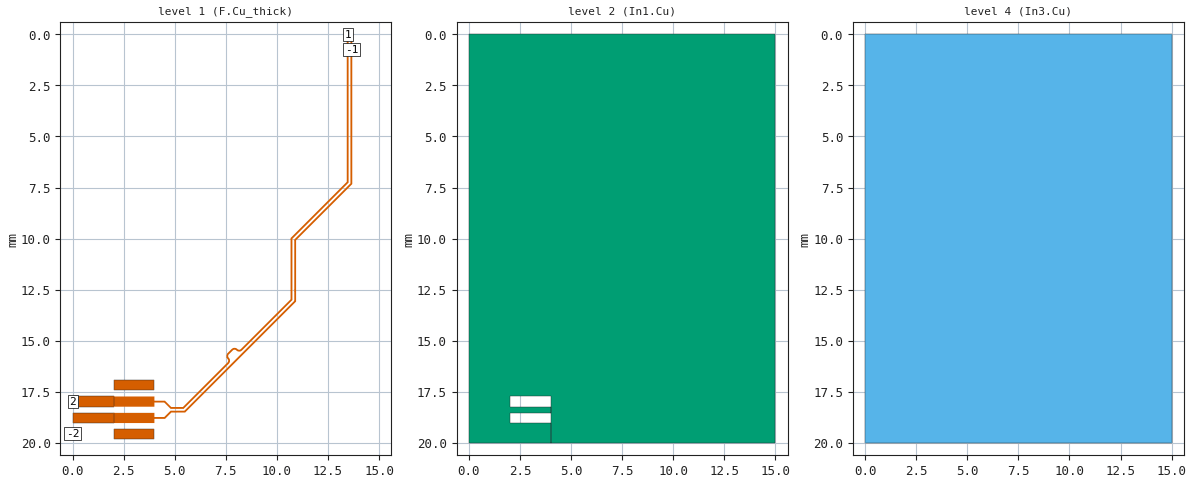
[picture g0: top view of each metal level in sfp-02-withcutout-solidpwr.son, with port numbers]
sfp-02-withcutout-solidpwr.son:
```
FTYP SONPROJ 19 ! Sonnet Project File
VER 18.56
HEADER
LIC antikernel2.1.52448
DAT 06/11/2023 19:36:24
BUILT_BY_CREATED dxf 18.56 06/07/2023 00:06:12
BUILT_BY_SAVED sonnet 18.56
MDATE 06/11/2023 13:20:11
HDATE 06/11/2023 13:20:11
ANN Created by dxfgeo, Sonnet Software Inc.
END HEADER
DIM
ANG DEG
CAP PF
CON /OH
FREQ GHZ
IND NH
LNG MM
RES OH
END DIM
CONTROL
VARSWP
OPTIONS  -dj
SPEED 1
CACHE_ABS 2
Q_ACC N
END CONTROL
GEO
DRP1 LEFT LINK
POLY 8762 1
0
TMET "Free Space" 0 FREESPACE 376.7303136 0 0 0
BMET "Free Space" 0 FREESPACE 376.7303136 0 0 0
MET "Copper_1oz_thin" 1 NOR 58000000 0.5 0.035 
MET "Copper_1oz_thick" 2 TMM 58000000 0.5 0.035 2
MET "Copper_0.5oz_thin" 4 NOR 58000000 0.5 0.017 
MET "Copper_0.5oz_thick" 12 TMM 58000000 0.5 0.017 2
MET "Copper_0.5oz_thick_down" 5 TMM 58000000 0.5 0.017 2 CDVY TDWN
MET "Copper_1oz_thick_down" 3 TMM 58000000 0.5 0.035 2 CDVY TDWN
BOX 10 15 20 1200 1600 20 0
      5 1 1 0 0 0 0 "Air"
      0.04 3.5 1 0.025 0 0 0 "Soldermask"
      0.075 3.9 1 0.008 0 0 0 "TU-872_SLK"
      0.1 3.9 1 0.008 0 0 0 "TU-872_SLK"
      0.143 3.9 1 0.008 0 0 0 "TU-872_SLK"
      0.7 4.49 1 0.016 0 0 0 "Shengyi_S1000-2M"
      0.143 3.9 1 0.008 0 0 0 "TU-872_SLK"
      0.1 3.9 1 0.008 0 0 0 "TU-872_SLK"
      0.075 3.9 1 0.008 0 0 0 "TU-872_SLK"
      0.04 3.5 1 0.025 0 0 0 "Soldermask"
      5 1 1 0 0 0 0 "Air"
TECHLAY METAL F.Cu_thin <UNSPECIFIED> -1 -65534 CAD F.Cu_thin drawing 
1 0 0 N 8714 1 1 100 100 0 0 0 Y
END
END
TECHLAY METAL F.Cu_thick L1D0 -2 -65534 CAD F.Cu_thick drawing 
1 0 1 V 8716 1 1 100 100 0 0 0 Y
END
END
TECHLAY VIA Via1 L9D0 -13 -65534 CAD Via1 drawing 
VIA POLYGON
1 0 -1 N 8816 1 1 100 100 0 0 0 Y
TOLEVEL 8 RING NOCOVERS
END
END
TECHLAY METAL In1.Cu L2D0 -3 -65534 CAD In1.Cu drawing 
2 0 0 N 8727 1 1 100 100 0 0 0 Y
END
END
TECHLAY METAL In2.Cu_thin <UNSPECIFIED> -4 -65534 CAD In2.Cu drawing 
3 0 2 N 8730 1 1 100 100 0 0 0 Y
END
END
TECHLAY METAL In2.Cu_thick L3D0 -5 -65534 CAD In2.Cu_thick drawing 
3 0 3 N 8732 1 1 100 100 0 0 0 Y
END
END
TECHLAY METAL In3.Cu L4D0 -6 -65534 CAD In3.Cu drawing 
4 0 0 N 8735 1 1 100 100 0 0 0 Y
END
END
TECHLAY METAL In4.Cu L5D0 -7 -65534 CAD In4.Cu drawing 
5 0 0 N 8738 1 1 100 100 0 0 0 Y
END
END
TECHLAY METAL In5.Cu_thin <UNSPECIFIED> -8 -65534 CAD In5.Cu drawing 
6 0 2 N 8741 1 1 100 100 0 0 0 Y
END
END
TECHLAY METAL In5.Cu_thick L6D0 -9 -65534 CAD In5.Cu_thick drawing 
6 0 4 N 8743 1 1 100 100 0 0 0 Y
END
END
TECHLAY METAL In6.Cu L7D0 -10 -65534 CAD In6.Cu drawing 
7 0 0 N 8746 1 1 100 100 0 0 0 Y
END
END
TECHLAY METAL B.Cu_thin <UNSPECIFIED> -11 -65534 CAD B.Cu_thin drawing 
8 0 0 N 8749 1 1 100 100 0 0 0 Y
END
END
TECHLAY METAL B.Cu_thick L8D0 -12 -65534 CAD B.Cu_thick drawing 
8 0 5 N 8751 1 1 100 100 0 0 0 Y
END
END
VALVAR CORE_ER NONE "table1(\"../../../sata-sniffer/sims/core_er.csv\",FREQ)" "Variable set in material file"
VALVAR CORE_DF NONE "table1(\"../../../sata-sniffer/sims/core_df.csv\",FREQ)" "Variable set in material file"
VALVAR PREPREG_DF NONE "table1(\"../../../sata-sniffer/sims/prepreg_df.csv\",FREQ)" "Variable set in material file"
VALVAR PREPREG_ER NONE "table1(\"../../../sata-sniffer/sims/prepreg_er.csv\",FREQ)" "Variable set in material file"
LORGN 0 20 U 
POR1 BOX
POLY 8661 1
115
1 100 0 0 0 13.46272656 -0.0025 
POR1 BOX
POLY 8662 1
30
-1 100 0 0 0 13.64272656 -0.0025 
POR1 BOX
POLY 8762 1
2
2 100 0 0 0 0 17.978125 
POR1 BOX
POLY 8766 1
2
-2 100 0 0 0 0 18.778125 
NUM 8
1 261 1 V 8661 1 1 100 100 0 0 0 Y
TLAYNAM F.Cu_thick INH
5.426726562 18.332125
5.430726562 18.330125
5.434726563 18.329125
5.438726562 18.327125
5.442726562 18.324125
5.445726562 18.321125
7.647726562 16.120125
7.650726562 16.116125
7.652726563 16.113125
7.652726563 16.112125
7.666726563 16.096125
7.667726562 16.095125
7.669726563 16.092125
7.672726563 16.088125
7.684726563 16.064125
7.687726563 16.061125
7.687726563 16.060125
7.689726562 16.056125
7.690726563 16.052125
7.692726562 16.048125
7.693726563 16.044125
7.693726563 16.043125
7.698726562 16.027125
7.701726562 16.018125
7.702726563 16.014125
7.702726563 16.005125
7.704726562 15.987125
7.705726563 15.983125
7.705726563 15.969125
7.704726562 15.967125
7.704726562 15.965125
7.702726563 15.938125
7.701726562 15.934125
7.698726562 15.926125
7.692726562 15.908125
7.692726562 15.904125
7.690726563 15.900125
7.689726562 15.895125
7.687726563 15.892125
7.674726562 15.868125
7.674726562 15.867125
7.672726563 15.863125
7.669726563 15.859125
7.652726563 15.839125
7.649726563 15.835125
7.646726563 15.832125
7.635726562 15.819125
7.635726562 15.818125
7.618726563 15.788125
7.618726563 15.787125
7.614726562 15.773125
7.611726562 15.745125
7.613726563 15.730125
7.622726563 15.701125
7.623726562 15.699125
7.631726563 15.685125
7.649726563 15.663125
7.838726562 15.474125
7.844726562 15.469125
7.855726562 15.459125
7.857726563 15.458125
7.881726563 15.445125
7.900726562 15.439125
7.928726563 15.436125
7.949726563 15.439125
7.966726562 15.444125
7.990726563 15.457125
8.004726562 15.468125
8.007726562 15.471125
8.015726563 15.477125
8.031726562 15.491125
8.032726563 15.492125
8.035726563 15.494125
8.039726562 15.497125
8.063726562 15.509125
8.066726562 15.512125
8.067726562 15.512125
8.071726563 15.514125
8.075726562 15.515125
8.079726562 15.517125
8.083726563 15.518125
8.084726562 15.518125
8.100726563 15.523125
8.109726563 15.526125
8.113726563 15.527125
8.122726563 15.527125
8.140726563 15.529125
8.144726562 15.530125
8.158726563 15.530125
8.160726563 15.529125
8.162726562 15.529125
8.189726562 15.527125
8.193726563 15.526125
8.201726562 15.523125
8.219726562 15.517125
8.223726563 15.517125
8.227726562 15.515125
8.232726563 15.514125
8.263726562 15.497125
8.267726563 15.494125
8.287726562 15.477125
8.291726563 15.474125
8.485726563 15.280125
8.489726562 15.277125
10.74872656 13.018125
10.75172656 13.014125
10.75572656 13.006125
10.75772656 12.998125
10.75772656 10.009125
13.49872656 7.268125
13.50172656 7.264125
13.50372656 7.260125
13.50472656 7.256125
13.50672656 7.252125
13.50772656 7.248125
13.50772656 -0.0025
13.41772656 -0.0025
13.41772656 7.223125
10.67672656 9.964125
10.67372656 9.968125
10.67172656 9.972125
10.67072656 9.976125
10.66872656 9.980125
10.66772656 9.984125
10.66772656 12.973125
8.438726562 15.202125
8.435726562 15.204125
8.431726563 15.207125
8.237726563 15.402125
8.215726562 15.420125
8.194726562 15.431125
8.174726562 15.438125
8.155726563 15.440125
8.127726563 15.437125
8.108726562 15.431125
8.084726562 15.418125
8.082726562 15.417125
8.068726563 15.405125
8.065726563 15.402125
8.061726562 15.399125
8.041726563 15.382125
8.037726562 15.379125
8.033726563 15.377125
8.032726563 15.377125
8.013726562 15.367125
8.010726562 15.365125
8.009726563 15.364125
8.005726563 15.362125
8.001726562 15.361125
8.000726563 15.361125
7.996726563 15.359125
7.995726562 15.359125
7.967726563 15.350125
7.963726562 15.349125
7.962726562 15.349125
7.935726562 15.347125
7.933726562 15.347125
7.931726563 15.346125
7.917726562 15.346125
7.913726563 15.347125
7.895726563 15.349125
7.886726563 15.349125
7.882726562 15.350125
7.873726562 15.353125
7.857726563 15.358125
7.856726563 15.358125
7.852726562 15.359125
7.848726563 15.361125
7.844726562 15.362125
7.840726562 15.364125
7.839726563 15.364125
7.836726563 15.367125
7.812726563 15.379125
7.808726562 15.382125
7.805726562 15.384125
7.804726562 15.385125
7.787726562 15.400125
7.784726562 15.402125
7.780726563 15.405125
7.777726563 15.408125
7.775726562 15.411125
7.577726563 15.609125
7.574726563 15.613125
7.557726562 15.633125
7.554726562 15.637125
7.537726562 15.668125
7.536726562 15.673125
7.534726562 15.677125
7.534726562 15.681125
7.533726563 15.684125
7.533726563 15.686125
7.530726563 15.695125
7.530726563 15.696125
7.528726562 15.699125
7.527726563 15.703125
7.525726562 15.707125
7.524726563 15.711125
7.522726562 15.738125
7.522726562 15.740125
7.521726563 15.742125
7.521726563 15.756125
7.522726562 15.760125
7.524726563 15.778125
7.524726563 15.787125
7.525726562 15.791125
7.536726562 15.825125
7.537726562 15.829125
7.539726562 15.833125
7.542726562 15.837125
7.543726562 15.838125
7.549726562 15.849125
7.551726562 15.853125
7.551726562 15.854125
7.552726562 15.857125
7.554726562 15.861125
7.557726562 15.865125
7.560726562 15.868125
7.574726563 15.885125
7.575726562 15.887125
7.577726563 15.889125
7.578726562 15.891125
7.580726563 15.893125
7.580726563 15.894125
7.582726562 15.895125
7.584726562 15.897125
7.594726562 15.910125
7.606726563 15.933125
7.613726563 15.953125
7.615726563 15.972125
7.612726563 16.000125
7.606726563 16.019125
7.593726562 16.043125
7.592726563 16.045125
7.583726563 16.056125
7.577726563 16.062125
7.574726563 16.066125
5.397726562 18.243125
4.830726563 18.243125
4.541726563 17.955125
4.538726563 17.951125
4.529726563 17.942125
4.525726562 17.939125
4.521726563 17.937125
4.517726563 17.936125
4.513726562 17.934125
4.509726563 17.933125
4.002726563 17.933125
4.002726563 17.728125
2.00272656 17.728125
2.00272656 18.228125
4.002726563 18.228125
4.002726563 18.023125
4.484726563 18.023125
4.785726563 18.324125
4.789726562 18.327125
4.793726562 18.329125
4.797726563 18.330125
4.801726562 18.332125
4.805726562 18.333125
5.422726563 18.333125
5.426726562 18.332125
END
1 54 1 V 8662 1 1 100 100 0 0 0 Y
TLAYNAM F.Cu_thick INH
4.002726563 18.823125
4.509726563 18.823125
4.513726562 18.822125
4.517726563 18.820125
4.521726563 18.819125
4.525726562 18.817125
4.529726563 18.814125
4.830726563 18.513125
5.496726563 18.513125
5.500726563 18.512125
5.504726562 18.510125
5.509726563 18.509125
5.512726563 18.507125
5.520726563 18.501125
5.523726563 18.498125
5.525726562 18.495125
10.91972656 13.101125
10.92572656 13.096125
10.93172656 13.088125
10.93372656 13.084125
10.93472656 13.080125
10.93672656 13.076125
10.93772656 13.072125
10.93772656 10.083125
13.67872656 7.342125
13.68172656 7.338125
13.68372656 7.334125
13.68472656 7.330125
13.68672656 7.326125
13.68772656 7.322125
13.68772656 -0.0025
13.59772656 -0.0025
13.59772656 7.297125
10.85672656 10.038125
10.85372656 10.042125
10.85172656 10.046125
10.85072656 10.050125
10.84872656 10.054125
10.84772656 10.058125
10.84772656 13.046125
5.471726562 18.423125
4.805726562 18.423125
4.801726562 18.424125
4.797726563 18.426125
4.793726562 18.427125
4.789726562 18.429125
4.785726563 18.432125
4.484726563 18.733125
4.002726563 18.733125
4.002726563 18.528125
2.00272656 18.528125
2.00272656 19.028125
4.002726563 19.028125
4.002726563 18.823125
END
1 5 1 N 1922 1 1 100 100 0 0 0 Y
TLAYNAM F.Cu_thick NOH
2.00272656 19.828125
2.00272656 19.328125
4.002726563 19.328125
4.002726563 19.828125
2.00272656 19.828125
END
1 5 1 N 1925 1 1 100 100 0 0 0 Y
TLAYNAM F.Cu_thick NOH
2.00272656 17.428125
2.00272656 16.928125
4.002726563 16.928125
4.002726563 17.428125
2.00272656 17.428125
END
1 5 1 V 8762 1 1 100 100 0 0 0 Y
TLAYNAM F.Cu_thick INH
2.00272656 17.728125
2.00272656 18.228125
0 18.228125
0 17.728125
2.00272656 17.728125
END
1 5 1 V 8766 1 1 100 100 0 0 0 Y
TLAYNAM F.Cu_thick INH
2.00272656 18.528125
2.00272656 19.028125
0 19.028125
0 18.528125
2.00272656 18.528125
END
2 19 0 N 8772 1 1 100 100 0 0 0 Y
TLAYNAM In1.Cu INH
15 0
0 0
0 20
4.002726563 20
4.002726563 19.028125
2.00272656 19.028125
2.00272656 18.528125
4.002726563 18.528125
4.002726563 18.228125
2.00272656 18.228125
2.00272656 17.728125
4.002726563 17.728125
4.002726563 18.228125
4.002726563 18.228125
4.002726563 18.528125
4.002726563 19.028125
4.002726563 20
15 20
15 0
END
4 5 0 N 8805 1 1 100 100 0 0 0 Y
TLAYNAM In3.Cu INH
0 0
15 0
15 20
0 20
0 0
END
END GEO
OPT
MAX 100
END OPT
VARSWP
ENABLED Y
FREQ Y AN STEP 1.0
FREQ Y AN STEP 0.4
FREQ Y AN STEP 6.15
FREQ Y AY ABS_ENTRY 0.01 16.0 -1 300 
END
END VARSWP
```
